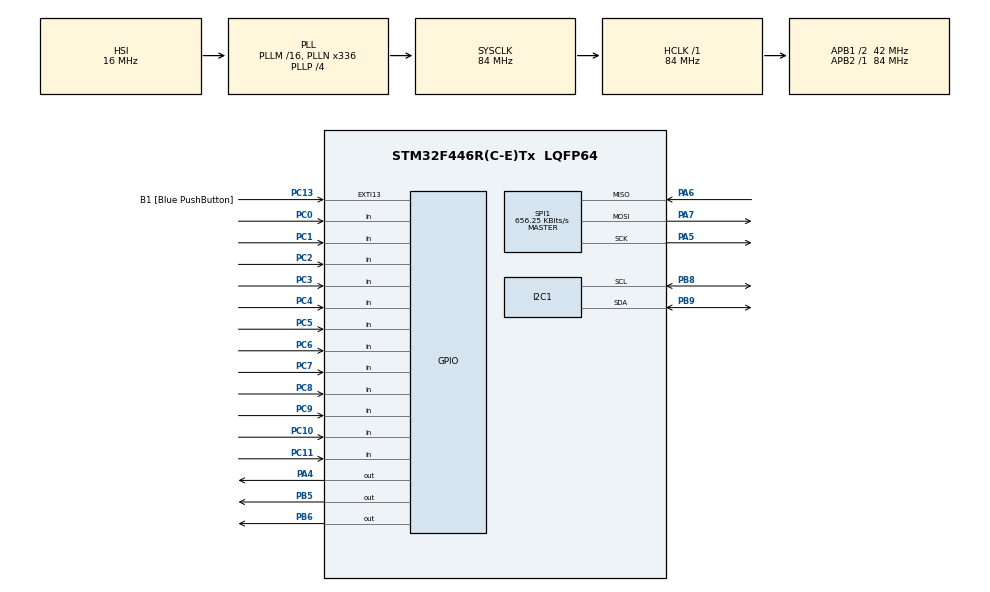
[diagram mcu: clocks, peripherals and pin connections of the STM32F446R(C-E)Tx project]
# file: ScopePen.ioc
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Dma.MEMTOMEM.0.Direction=DMA_MEMORY_TO_MEMORY
Dma.MEMTOMEM.0.FIFOMode=DMA_FIFOMODE_ENABLE
Dma.MEMTOMEM.0.FIFOThreshold=DMA_FIFO_THRESHOLD_FULL
Dma.MEMTOMEM.0.Instance=DMA2_Stream0
Dma.MEMTOMEM.0.MemBurst=DMA_MBURST_SINGLE
Dma.MEMTOMEM.0.MemDataAlignment=DMA_MDATAALIGN_HALFWORD
Dma.MEMTOMEM.0.MemInc=DMA_MINC_ENABLE
Dma.MEMTOMEM.0.Mode=DMA_NORMAL
Dma.MEMTOMEM.0.PeriphBurst=DMA_PBURST_SINGLE
Dma.MEMTOMEM.0.PeriphDataAlignment=DMA_PDATAALIGN_HALFWORD
Dma.MEMTOMEM.0.PeriphInc=DMA_PINC_DISABLE
Dma.MEMTOMEM.0.Priority=DMA_PRIORITY_VERY_HIGH
Dma.Request0=MEMTOMEM
Dma.Request1=SPI1_TX
Dma.Request2=SPI1_RX
Dma.SPI1_RX.2.Direction=DMA_PERIPH_TO_MEMORY
Dma.SPI1_RX.2.FIFOMode=DMA_FIFOMODE_DISABLE
Dma.SPI1_RX.2.Instance=DMA2_Stream2
Dma.SPI1_RX.2.MemDataAlignment=DMA_MDATAALIGN_HALFWORD
Dma.SPI1_RX.2.MemInc=DMA_MINC_ENABLE
Dma.SPI1_RX.2.Mode=DMA_NORMAL
Dma.SPI1_RX.2.PeriphDataAlignment=DMA_PDATAALIGN_HALFWORD
Dma.SPI1_RX.2.PeriphInc=DMA_PINC_DISABLE
Dma.SPI1_RX.2.Priority=DMA_PRIORITY_HIGH
Dma.SPI1_TX.1.Direction=DMA_MEMORY_TO_PERIPH
Dma.SPI1_TX.1.FIFOMode=DMA_FIFOMODE_DISABLE
Dma.SPI1_TX.1.Instance=DMA2_Stream3
Dma.SPI1_TX.1.MemDataAlignment=DMA_MDATAALIGN_HALFWORD
Dma.SPI1_TX.1.MemInc=DMA_MINC_ENABLE
Dma.SPI1_TX.1.Mode=DMA_NORMAL
Dma.SPI1_TX.1.PeriphDataAlignment=DMA_PDATAALIGN_HALFWORD
Dma.SPI1_TX.1.PeriphInc=DMA_PINC_DISABLE
Dma.SPI1_TX.1.Priority=DMA_PRIORITY_HIGH
Mcu.Family=STM32F4
Mcu.Name=STM32F446R(C-E)Tx
Mcu.Package=LQFP64
NVIC.DMA2_Stream0_IRQn=true\:0\:0\:false\:false\:true\:true\:true\:true
NVIC.DMA2_Stream2_IRQn=true\:0\:0\:false\:false\:true\:false\:true\:true
NVIC.DMA2_Stream3_IRQn=true\:0\:0\:false\:false\:true\:false\:true\:true
NVIC.PriorityGroup=NVIC_PRIORITYGROUP_0
NVIC.SPI1_IRQn=true\:0\:0\:false\:false\:true\:true\:true\:true
PA13.GPIO_Label=TMS
PA13.Mode=Serial_Wire
PA13.Signal=SYS_JTMS-SWDIO
PA14.GPIO_Label=TCK
PA14.Mode=Serial_Wire
PA14.Signal=SYS_JTCK-SWCLK
PA4.GPIO_PuPd=GPIO_NOPULL
PA4.PinState=GPIO_PIN_SET
PA4.Signal=GPIO_Output
PA5.Mode=Full_Duplex_Master
PA5.Signal=SPI1_SCK
PA6.Mode=Full_Duplex_Master
PA6.Signal=SPI1_MISO
PA7.Mode=Full_Duplex_Master
PA7.Signal=SPI1_MOSI
PB3.GPIO_Label=SWO
PB3.Signal=SYS_JTDO-SWO
PB5.GPIO_PuPd=GPIO_PULLDOWN
PB5.Signal=GPIO_Output
PB6.GPIO_PuPd=GPIO_PULLDOWN
PB6.Signal=GPIO_Output
PB8.Mode=I2C
PB8.Signal=I2C1_SCL
PB9.Mode=I2C
PB9.Signal=I2C1_SDA
PC0.Signal=GPIO_Input
PC1.Signal=GPIO_Input
PC10.Signal=GPIO_Input
PC11.Signal=GPIO_Input
PC13.GPIO_Label=B1 [Blue PushButton]
PC13.GPIO_ModeDefaultEXTI=GPIO_MODE_IT_FALLING
PC13.Signal=GPXTI13
PC14-OSC32_IN.Mode=LSE-External-Oscillator
PC14-OSC32_IN.Signal=RCC_OSC32_IN
PC15-OSC32_OUT.Mode=LSE-External-Oscillator
PC15-OSC32_OUT.Signal=RCC_OSC32_OUT
PC2.Signal=GPIO_Input
PC3.Signal=GPIO_Input
PC4.Signal=GPIO_Input
PC5.Signal=GPIO_Input
PC6.Signal=GPIO_Input
PC7.Signal=GPIO_Input
PC8.Signal=GPIO_Input
PC9.Signal=GPIO_Input
PH0-OSC_IN.Mode=HSE-External-Oscillator
PH0-OSC_IN.Signal=RCC_OSC_IN
PH1-OSC_OUT.Mode=HSE-External-Oscillator
PH1-OSC_OUT.Signal=RCC_OSC_OUT
ProjectManager.HeapSize=0x200
ProjectManager.StackSize=0x400
ProjectManager.TargetToolchain=STM32CubeIDE
RCC.48MHZClocksFreq_Value=84000000
RCC.AHBFreq_Value=84000000
RCC.APB1CLKDivider=RCC_HCLK_DIV2
RCC.APB1Freq_Value=42000000
RCC.APB1TimFreq_Value=84000000
RCC.APB2Freq_Value=84000000
RCC.APB2TimFreq_Value=84000000
RCC.CortexFreq_Value=84000000
RCC.FLatency-AdvancedSettings=FLASH_LATENCY_2
RCC.HCLKFreq_Value=84000000
RCC.HSE_VALUE=8000000
RCC.HSI_VALUE=16000000
RCC.PLLN=336
RCC.PLLP=RCC_PLLP_DIV4
RCC.SYSCLKFreq_VALUE=84000000
RCC.SYSCLKSource=RCC_SYSCLKSOURCE_PLLCLK
RCC.USBFreq_Value=168000000
RCC.VCOOutputFreq_Value=336000000
SPI1.BaudRatePrescaler=SPI_BAUDRATEPRESCALER_128
SPI1.CLKPolarity=SPI_POLARITY_LOW
SPI1.CalculateBaudRate=656.25 KBits/s
SPI1.DataSize=SPI_DATASIZE_16BIT
SPI1.Direction=SPI_DIRECTION_2LINES
SPI1.Mode=SPI_MODE_MASTER
SPI1.VirtualType=VM_MASTER
board=NUCLEO-F446RE

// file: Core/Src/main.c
/* USER CODE BEGIN Header */
/**
 ******************************************************************************
 * @file           : main.c
 * @brief          : Main program body
 ******************************************************************************
 * @attention
 *
 * Copyright (c) 2025 STMicroelectronics.
 * All rights reserved.
 *
 * This software is licensed under terms that can be found in the LICENSE file
 * in the root directory of this software component.
 * If no LICENSE file comes with this software, it is provided AS-IS.
 *
 ******************************************************************************
 */
/* USER CODE END Header */
#include "main.h"

/* USER CODE BEGIN Includes */
#include <stdio.h>
#include <string.h>
#include <stdlib.h>
/* USER CODE END Includes */

/* USER CODE BEGIN PD */
#define NUM_SAMPLES 2000
#define GPIO_MASK 0x0FFF

#define CS_GPIO_Port GPIOA
#define CS_Pin GPIO_PIN_4

#define VREF 1.5f
#define BASE_GAIN 16.666f
#define BASE_OFFSET 0.575f

#define PASSWORD_CODE 0xDEADBEEF

#define DEBUG_ENABLED 1  // Set to 0 to disable debug prints
/* USER CODE END PD */

/* USER CODE BEGIN PM */
#if DEBUG_ENABLED
    #define DEBUG_PRINT(...) printf(__VA_ARGS__)
#else
    #define DEBUG_PRINT(...) ((void)0)
#endif
/* USER CODE END PM */

I2C_HandleTypeDef hi2c1;

SPI_HandleTypeDef hspi1;
DMA_HandleTypeDef hdma_spi1_tx;
DMA_HandleTypeDef hdma_spi1_rx;

DMA_HandleTypeDef hdma_memtomem_dma2_stream0;
/* USER CODE BEGIN PV */
uint16_t * gpio_buffer;
uint16_t spi_tx_buffer[NUM_SAMPLES];
uint16_t spi_rx_buffer[NUM_SAMPLES];

volatile uint8_t dma_done = 0;
volatile uint8_t tx_done = 0;
volatile uint8_t num_frames = 1;

/* USER CODE END PV */

void SystemClock_Config(void);
static void MX_GPIO_Init(void);
static void MX_DMA_Init(void);
static void MX_SPI1_Init(void);
static void MX_I2C1_Init(void);

/* USER CODE BEGIN 0 */
int __io_putchar(int ch)
{
	ITM_SendChar(ch);
	return ch;
}

float adc_to_voltage(uint16_t raw) {
    // Mask to 12 bits
	raw &= 0x0FFF;

	// Reverse bit order (12 bits: bit 0 becomes bit 11, bit 1 becomes bit 10, etc.)
	uint16_t reversed = 0;
	for (int i = 0; i < 12; i++) {
		if (raw & (1 << i)) {
			reversed |= (1 << (11 - i));
		}
	}

	// Convert from two's complement to signed
	int16_t signed_val;
	if (reversed & 0x0800) {
		// Negative: sign-extend from 12 to 16 bits
		signed_val = (int16_t)(reversed | 0xF000);
	} else {
		signed_val = (int16_t)reversed;
	}

	// Convert to voltage
	return ((float)signed_val / 2048.0f) * VREF;
}

void sample_gpio_dma()
{
	dma_done = 0;

	__HAL_DMA_ENABLE_IT(&hdma_memtomem_dma2_stream0, DMA_IT_TC);

	// Start DMA manually — source = GPIOC->IDR, destination = buffer
	HAL_DMA_Start_IT(
			&hdma_memtomem_dma2_stream0,
			(uint32_t)&GPIOC->IDR,           // Fake peripheral
			(uint32_t)gpio_buffer,
			NUM_SAMPLES * num_frames
	);

}

void voltage_gain(uint32_t voltage){

    // GPIOB1 = PB1, GPIOB2 = PB2
    // Set combinations for 4 voltage ranges
    if (voltage <= 100) {
        // VOLTAGE MULTIPLIER = 10; GPIOB1 HIGH, GPIOB2 HIGH
        HAL_GPIO_WritePin(GPIOB, GPIO_PIN_5, GPIO_PIN_SET);
        HAL_GPIO_WritePin(GPIOB, GPIO_PIN_6, GPIO_PIN_SET);
        DEBUG_PRINT("MULTIPLIER = 10\r\n");
    } else if (voltage <= 500) {
        // VOLTAGE MULTIPLIER = 5; GPIOB1 HIGH, GPIOB2 LOW
        HAL_GPIO_WritePin(GPIOB, GPIO_PIN_5, GPIO_PIN_RESET);
        HAL_GPIO_WritePin(GPIOB, GPIO_PIN_6, GPIO_PIN_SET);
        DEBUG_PRINT("MULTIPLIER = 5\r\n");
    } else if (voltage <= 2000) {
        // VOLTAGE MULTIPLIER = 2; GPIOB1 LOW, GPIOB2 HIGH
        HAL_GPIO_WritePin(GPIOB, GPIO_PIN_5, GPIO_PIN_SET);
        HAL_GPIO_WritePin(GPIOB, GPIO_PIN_6, GPIO_PIN_RESET);
        DEBUG_PRINT("MULTIPLIER = 2\r\n");
    } else {
        // VOLTAGE_MULTIPLIER = 1; GPIOB1 LOW, GPIOB2 LOW
        HAL_GPIO_WritePin(GPIOB, GPIO_PIN_5, GPIO_PIN_RESET);
        HAL_GPIO_WritePin(GPIOB, GPIO_PIN_6, GPIO_PIN_RESET);
        DEBUG_PRINT("MULTIPLIER = 1\r\n");
    }
}

void window_scale(uint32_t frames){
	DEBUG_PRINT("FRAMES = %lu\r\n", frames);
	num_frames = frames;
}

uint8_t verifyPasscode(uint16_t *rx_buf, size_t len)
{
	if (len < 5) return 0;

	uint32_t magic = ((uint32_t)rx_buf[0] << 16) | (uint32_t)rx_buf[1];
	if (magic != PASSWORD_CODE) return 0;

	return 1;
}

void parseCommand(uint16_t *rx_buf, uint16_t *identifier, uint32_t *value)
{
	// Identifier: swap bytes in rx_buf[2]
	*identifier = (rx_buf[2] >> 8) | (rx_buf[2] << 8);

	// Value: rx_buf[3] has low 16 bits, rx_buf[4] has high 16 bits (both byte-swapped)
	uint16_t val_lo = (rx_buf[3] >> 8) | (rx_buf[3] << 8);
	uint16_t val_hi = (rx_buf[4] >> 8) | (rx_buf[4] << 8);
	*value = ((uint32_t)val_hi << 16) | val_lo;
}

void handle_spi_received_data(uint16_t *rx_buf, size_t len)
{
	if (!verifyPasscode(rx_buf, len)) return;

	uint16_t identifier;
	uint32_t value;

	parseCommand(rx_buf, &identifier, &value);
	DEBUG_PRINT("Identifier: %u, Value: %lu\r\n", identifier, value);

	switch(identifier){
		case 1:
			voltage_gain(value);
			return;
		case 2:
			window_scale(value);
			return;
		default:
			return;
	}
}

void setup_tx_buffer() {
	for (int i = 0; i < NUM_SAMPLES; i++){
		spi_tx_buffer[i] = gpio_buffer[i*num_frames];
	}
}

void spi_gpio_transfer()
{

	DEBUG_PRINT("Starting SPI Transfer\r\n");

	setup_tx_buffer();

	tx_done = 0;

	// Start DMA transmit
	HAL_StatusTypeDef status = HAL_SPI_TransmitReceive_DMA(
        &hspi1,
        (uint8_t *)spi_tx_buffer,
        (uint8_t *)spi_rx_buffer,
        NUM_SAMPLES
    );

	HAL_GPIO_WritePin(GPIOA, GPIO_PIN_4, GPIO_PIN_RESET);  // assert CS

	if (status != HAL_OK) {
		DEBUG_PRINT("DMA TX FAILED\r\n");
	}

	while (!tx_done);  // Wait for TX complete

	DEBUG_PRINT("SPI Transfer Complete\r\n");

	handle_spi_received_data(spi_rx_buffer, NUM_SAMPLES);
}

void HAL_SPI_TxRxCpltCallback(SPI_HandleTypeDef *hspi)
{
	if (hspi->Instance == SPI1)
	{
		HAL_GPIO_WritePin(GPIOA, GPIO_PIN_4, GPIO_PIN_SET);
		tx_done = 1;
	}
}

void dma_transfer_complete_callback(DMA_HandleTypeDef *hdma)
{
	dma_done = 1;
	DEBUG_PRINT("DMA Complete\r\n");
}

void register_dma_callbacks()
{
	HAL_DMA_RegisterCallback(&hdma_memtomem_dma2_stream0, HAL_DMA_XFER_CPLT_CB_ID, dma_transfer_complete_callback);
}

/* USER CODE END 0 */

int main(void)
{

  /* MCU Configuration--------------------------------------------------------*/

  /* Reset of all peripherals, Initializes the Flash interface and the Systick. */
  HAL_Init();

  /* Configure the system clock */
  SystemClock_Config();

  /* Initialize all configured peripherals */
  MX_GPIO_Init();
  MX_DMA_Init();
  MX_SPI1_Init();
  MX_I2C1_Init();
  /* USER CODE BEGIN 2 */
	gpio_buffer = (uint16_t *)malloc(50000 * sizeof(uint16_t));
	register_dma_callbacks();

	HAL_GPIO_WritePin(GPIOB, GPIO_PIN_1, GPIO_PIN_RESET);
	HAL_GPIO_WritePin(GPIOB, GPIO_PIN_2, GPIO_PIN_SET);

	DEBUG_PRINT("Setup Complete\r\n");

  /* USER CODE END 2 */

  /* Infinite loop */
  /* USER CODE BEGIN WHILE */
	while (1)
	{
		sample_gpio_dma();
		while(!dma_done);

		spi_gpio_transfer();
		HAL_Delay(250);
    /* USER CODE END WHILE */

	}
}

void SystemClock_Config(void)
{
  RCC_OscInitTypeDef RCC_OscInitStruct = {0};
  RCC_ClkInitTypeDef RCC_ClkInitStruct = {0};

  /** Configure the main internal regulator output voltage
  */
  __HAL_RCC_PWR_CLK_ENABLE();
  __HAL_PWR_VOLTAGESCALING_CONFIG(PWR_REGULATOR_VOLTAGE_SCALE3);

  /** Initializes the RCC Oscillators according to the specified parameters
  * in the RCC_OscInitTypeDef structure.
  */
  RCC_OscInitStruct.OscillatorType = RCC_OSCILLATORTYPE_HSI;
  RCC_OscInitStruct.HSIState = RCC_HSI_ON;
  RCC_OscInitStruct.HSICalibrationValue = RCC_HSICALIBRATION_DEFAULT;
  RCC_OscInitStruct.PLL.PLLState = RCC_PLL_ON;
  RCC_OscInitStruct.PLL.PLLSource = RCC_PLLSOURCE_HSI;
  RCC_OscInitStruct.PLL.PLLM = 16;
  RCC_OscInitStruct.PLL.PLLN = 336;
  RCC_OscInitStruct.PLL.PLLP = RCC_PLLP_DIV4;
  RCC_OscInitStruct.PLL.PLLQ = 2;
  RCC_OscInitStruct.PLL.PLLR = 2;
  if (HAL_RCC_OscConfig(&RCC_OscInitStruct) != HAL_OK)
  {
    Error_Handler();
  }

  /** Initializes the CPU, AHB and APB buses clocks
  */
  RCC_ClkInitStruct.ClockType = RCC_CLOCKTYPE_HCLK|RCC_CLOCKTYPE_SYSCLK
                              |RCC_CLOCKTYPE_PCLK1|RCC_CLOCKTYPE_PCLK2;
  RCC_ClkInitStruct.SYSCLKSource = RCC_SYSCLKSOURCE_PLLCLK;
  RCC_ClkInitStruct.AHBCLKDivider = RCC_SYSCLK_DIV1;
  RCC_ClkInitStruct.APB1CLKDivider = RCC_HCLK_DIV2;
  RCC_ClkInitStruct.APB2CLKDivider = RCC_HCLK_DIV1;

  if (HAL_RCC_ClockConfig(&RCC_ClkInitStruct, FLASH_LATENCY_2) != HAL_OK)
  {
    Error_Handler();
  }
}

static void MX_I2C1_Init(void)
{

  hi2c1.Instance = I2C1;
  hi2c1.Init.ClockSpeed = 100000;
  hi2c1.Init.DutyCycle = I2C_DUTYCYCLE_2;
  hi2c1.Init.OwnAddress1 = 0;
  hi2c1.Init.AddressingMode = I2C_ADDRESSINGMODE_7BIT;
  hi2c1.Init.DualAddressMode = I2C_DUALADDRESS_DISABLE;
  hi2c1.Init.OwnAddress2 = 0;
  hi2c1.Init.GeneralCallMode = I2C_GENERALCALL_DISABLE;
  hi2c1.Init.NoStretchMode = I2C_NOSTRETCH_DISABLE;
  if (HAL_I2C_Init(&hi2c1) != HAL_OK)
  {
    Error_Handler();
  }

}

static void MX_SPI1_Init(void)
{

  /* SPI1 parameter configuration*/
  hspi1.Instance = SPI1;
  hspi1.Init.Mode = SPI_MODE_MASTER;
  hspi1.Init.Direction = SPI_DIRECTION_2LINES;
  hspi1.Init.DataSize = SPI_DATASIZE_16BIT;
  hspi1.Init.CLKPolarity = SPI_POLARITY_LOW;
  hspi1.Init.CLKPhase = SPI_PHASE_1EDGE;
  hspi1.Init.NSS = SPI_NSS_SOFT;
  hspi1.Init.BaudRatePrescaler = SPI_BAUDRATEPRESCALER_128;
  hspi1.Init.FirstBit = SPI_FIRSTBIT_MSB;
  hspi1.Init.TIMode = SPI_TIMODE_DISABLE;
  hspi1.Init.CRCCalculation = SPI_CRCCALCULATION_DISABLE;
  hspi1.Init.CRCPolynomial = 10;
  if (HAL_SPI_Init(&hspi1) != HAL_OK)
  {
    Error_Handler();
  }

}

static void MX_DMA_Init(void)
{

  /* DMA controller clock enable */
  __HAL_RCC_DMA2_CLK_ENABLE();

  /* Configure DMA request hdma_memtomem_dma2_stream0 on DMA2_Stream0 */
  hdma_memtomem_dma2_stream0.Instance = DMA2_Stream0;
  hdma_memtomem_dma2_stream0.Init.Channel = DMA_CHANNEL_0;
  hdma_memtomem_dma2_stream0.Init.Direction = DMA_MEMORY_TO_MEMORY;
  hdma_memtomem_dma2_stream0.Init.PeriphInc = DMA_PINC_DISABLE;
  hdma_memtomem_dma2_stream0.Init.MemInc = DMA_MINC_ENABLE;
  hdma_memtomem_dma2_stream0.Init.PeriphDataAlignment = DMA_PDATAALIGN_HALFWORD;
  hdma_memtomem_dma2_stream0.Init.MemDataAlignment = DMA_MDATAALIGN_HALFWORD;
  hdma_memtomem_dma2_stream0.Init.Mode = DMA_NORMAL;
  hdma_memtomem_dma2_stream0.Init.Priority = DMA_PRIORITY_VERY_HIGH;
  hdma_memtomem_dma2_stream0.Init.FIFOMode = DMA_FIFOMODE_ENABLE;
  hdma_memtomem_dma2_stream0.Init.FIFOThreshold = DMA_FIFO_THRESHOLD_FULL;
  hdma_memtomem_dma2_stream0.Init.MemBurst = DMA_MBURST_SINGLE;
  hdma_memtomem_dma2_stream0.Init.PeriphBurst = DMA_PBURST_SINGLE;
  if (HAL_DMA_Init(&hdma_memtomem_dma2_stream0) != HAL_OK)
  {
    Error_Handler( );
  }

  /* DMA interrupt init */
  /* DMA2_Stream0_IRQn interrupt configuration */
  HAL_NVIC_SetPriority(DMA2_Stream0_IRQn, 0, 0);
  HAL_NVIC_EnableIRQ(DMA2_Stream0_IRQn);
  /* DMA2_Stream2_IRQn interrupt configuration */
  HAL_NVIC_SetPriority(DMA2_Stream2_IRQn, 0, 0);
  HAL_NVIC_EnableIRQ(DMA2_Stream2_IRQn);
  /* DMA2_Stream3_IRQn interrupt configuration */
  HAL_NVIC_SetPriority(DMA2_Stream3_IRQn, 0, 0);
  HAL_NVIC_EnableIRQ(DMA2_Stream3_IRQn);

}

static void MX_GPIO_Init(void)
{
  GPIO_InitTypeDef GPIO_InitStruct = {0};

  /* GPIO Ports Clock Enable */
  __HAL_RCC_GPIOC_CLK_ENABLE();
  __HAL_RCC_GPIOH_CLK_ENABLE();
  __HAL_RCC_GPIOA_CLK_ENABLE();
  __HAL_RCC_GPIOB_CLK_ENABLE();

  /*Configure GPIO pin Output Level */
  HAL_GPIO_WritePin(GPIOA, GPIO_PIN_4, GPIO_PIN_SET);

  /*Configure GPIO pin Output Level */
  HAL_GPIO_WritePin(GPIOB, GPIO_PIN_5|GPIO_PIN_6, GPIO_PIN_RESET);

  /*Configure GPIO pin : B1_Pin */
  GPIO_InitStruct.Pin = B1_Pin;
  GPIO_InitStruct.Mode = GPIO_MODE_IT_FALLING;
  GPIO_InitStruct.Pull = GPIO_NOPULL;
  HAL_GPIO_Init(B1_GPIO_Port, &GPIO_InitStruct);

  /*Configure GPIO pins : PC0 PC1 PC2 PC3
                           PC4 PC5 PC6 PC7
                           PC8 PC9 PC10 PC11 */
  GPIO_InitStruct.Pin = GPIO_PIN_0|GPIO_PIN_1|GPIO_PIN_2|GPIO_PIN_3
                          |GPIO_PIN_4|GPIO_PIN_5|GPIO_PIN_6|GPIO_PIN_7
                          |GPIO_PIN_8|GPIO_PIN_9|GPIO_PIN_10|GPIO_PIN_11;
  GPIO_InitStruct.Mode = GPIO_MODE_INPUT;
  GPIO_InitStruct.Pull = GPIO_NOPULL;
  HAL_GPIO_Init(GPIOC, &GPIO_InitStruct);

  /*Configure GPIO pin : PA4 */
  GPIO_InitStruct.Pin = GPIO_PIN_4;
  GPIO_InitStruct.Mode = GPIO_MODE_OUTPUT_PP;
  GPIO_InitStruct.Pull = GPIO_NOPULL;
  GPIO_InitStruct.Speed = GPIO_SPEED_FREQ_LOW;
  HAL_GPIO_Init(GPIOA, &GPIO_InitStruct);

  /*Configure GPIO pins : PB5 PB6 */
  GPIO_InitStruct.Pin = GPIO_PIN_5|GPIO_PIN_6;
  GPIO_InitStruct.Mode = GPIO_MODE_OUTPUT_PP;
  GPIO_InitStruct.Pull = GPIO_PULLDOWN;
  GPIO_InitStruct.Speed = GPIO_SPEED_FREQ_LOW;
  HAL_GPIO_Init(GPIOB, &GPIO_InitStruct);

}

void Error_Handler(void)
{
	__disable_irq();
	while (1)
	{
	}
}
